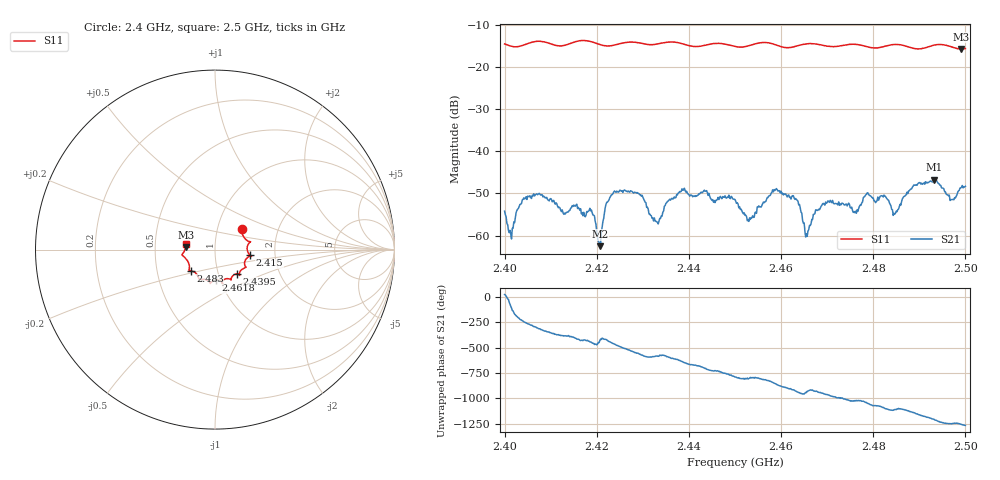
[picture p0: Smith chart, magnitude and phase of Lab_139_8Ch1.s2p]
# Hz S RI R 50
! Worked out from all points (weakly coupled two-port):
!   601 points, 2.4 GHz to 2.5 GHz, reference 50 ohm
!   highest |S21| = -46.74 dB at 2.4932 GHz (marker M1); lowest = -62.5 dB at 2.4207 GHz (marker M2)
!   lowest |S11| = -15.7 dB at 2.499 GHz (marker M3), VSWR 1.39, Z = 35.9 + j1.12 ohm
!   |S11| at or under -10 dB: start of sweep to end of sweep
!   S12 and S22 are empty: the file has one direction only
!   S11 on the Smith chart (normalised r, x): 2.4 GHz: 1.31, +0.31; 2.415 GHz: 1.48, -0.10; 2.4395 GHz: 1.23, -0.34; 2.4618 GHz: 0.95, -0.33; 2.483 GHz: 0.74, -0.18; 2.5 GHz: 0.72, +0.05
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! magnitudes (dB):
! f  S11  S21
! 2.4 GHz  -14.5  -54.2
! 2.4013 GHz  -15.0  -59.7
! 2.4047 GHz  -14.5  -50.8
! 2.415 GHz  -14.1  -52.8
! 2.4167 GHz  -13.7  -54.8
! 2.419 GHz  -14.0  -54.6
! 2.4207 GHz  -14.6  -62.5
! 2.424 GHz  -14.7  -49.6
! 2.4333 GHz  -14.4  -57.2
! 2.4395 GHz  -14.7  -49.5
! 2.45 GHz  -15.1  -51.4
! 2.4532 GHz  -14.8  -55.8
! 2.4585 GHz  -14.6  -49.1
! 2.4618 GHz  -15.3  -51.0
! 2.4655 GHz  -14.5  -59.5
! 2.4667 GHz  -14.4  -56.2
! 2.483 GHz  -14.9  -51.3
! 2.4833 GHz  -14.8  -51.6
! 2.4848 GHz  -14.6  -54.7
! 2.4932 GHz  -14.8  -46.7
! 2.499 GHz  -15.7  -48.7
! 2.5 GHz  -15.6  -48.3
